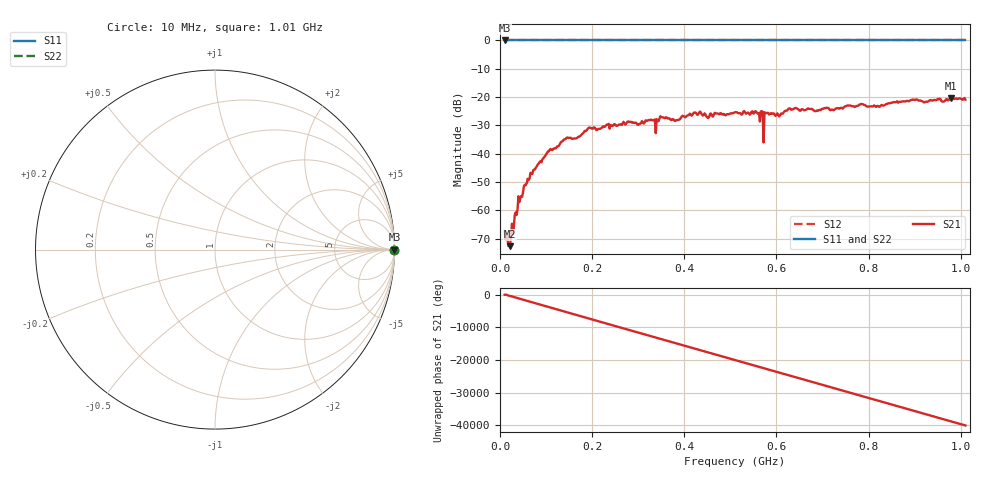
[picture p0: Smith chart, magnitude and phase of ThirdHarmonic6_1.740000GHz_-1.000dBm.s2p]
! 8/16/2025 8:58:39 PM
! C:\ANRITSUVNA\TEMP\TEMP.S2P
! CHANNEL.1
! TR.MEASUREMENT
! RAW.DATA
! RF.CORRECTION.OFF
! AVERAGING.OFF
! IF.BANDWIDTH: 5KHZ
! SWEEPTYPE:  FREQ.SWEEP(Linear)
! Reference Plane Port Info
! PORT:  PORT1  PORT2
! DISTANCE:  0  m  0  m
! TIME:  0  s  0  s
! PHASE.OFFSET:  0  deg.  0  deg.
! LOSS:  0  dB  0  dB
! REF.LOSS:  0  dB  0  dB
! REF.FREQ:  0  Hz  0  Hz
! Power Info
! POWER:  -20  dBm  -20  dBm
! EFF.POWER:  -20  dBm  -20  dBm
! SOURCE.ATTEN:  0  dB  0  dB
! TEST.ATTEN:  0  dB  0  dB
# GHZ S RI R 50.0
! FREQ.GHZ  S11RE  S11IM  S21RE  S21IM  S12RE  S12IM  S22RE  S22IM
!; PortSelection: Port_12
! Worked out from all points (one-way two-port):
!   501 points, 10 MHz to 1.01 GHz, reference 50 ohm
!   highest |S21| = -20.28 dB at 978 MHz (marker M1); lowest = -72.7 dB at 22 MHz (marker M2)
!   lowest |S11| = 0.0 dB at 10 MHz (marker M3)
!   |S11| at or under -10 dB: nowhere
!   |S22| runs from 0.0 to 0.0 dB; largest |S21 - S12| = 1.1
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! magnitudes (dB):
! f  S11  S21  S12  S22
! 10 MHz  0.0  -67.3  0.0  0.0
! 18 MHz  0.0  -72.6  0.0  0.0
! 22 MHz  0.0  -72.7  0.0  0.0
! 42 MHz  0.0  -57.1  0.0  0.0
! 70 MHz  0.0  -47.2  0.0  0.0
! 106 MHz  0.0  -39.1  0.0  0.0
! 142 MHz  0.0  -34.9  0.0  0.0
! 178 MHz  0.0  -33.1  0.0  0.0
! 194 MHz  0.0  -30.7  0.0  0.0
! 326 MHz  0.0  -28.2  0.0  0.0
! 340 MHz  0.0  -27.8  0.0  0.0
! 344 MHz  0.0  -28.5  0.0  0.0
! 510 MHz  0.0  -25.4  0.0  0.0
! 558 MHz  0.0  -25.6  0.0  0.0
! 566 MHz  0.0  -25.1  0.0  0.0
! 568 MHz  0.0  -25.0  0.0  0.0
! 576 MHz  0.0  -25.5  0.0  0.0
! 578 MHz  0.0  -25.7  0.0  0.0
! 678 MHz  0.0  -24.3  0.0  0.0
! 844 MHz  0.0  -22.2  0.0  0.0
! 978 MHz  0.0  -20.3  0.0  0.0
! 1.01 GHz  0.0  -20.9  0.0  0.0
